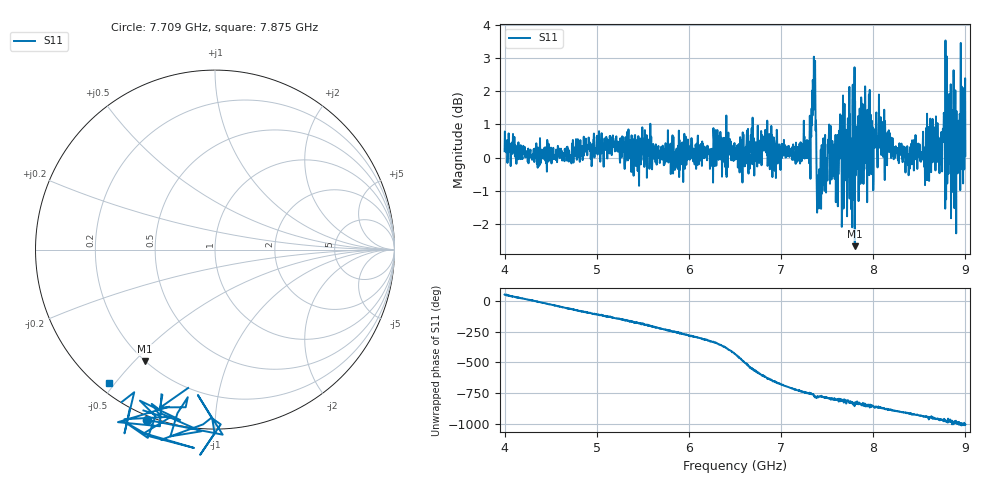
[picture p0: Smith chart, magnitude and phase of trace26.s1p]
! Created with skrf 1.8.0 (http://scikit-rf.org).
# Hz S RI R 50.0
!freq ReS11 ImS11
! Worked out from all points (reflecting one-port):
!   1601 points, 4 GHz to 9 GHz, reference 50 ohm
!   lowest |S11| = -2.7 dB at 7.8 GHz (marker M1), VSWR 6.56, Z = 9.87 - j26.8 ohm
!   phase of S11 starts at 50 deg and turns -1054 deg over the sweep
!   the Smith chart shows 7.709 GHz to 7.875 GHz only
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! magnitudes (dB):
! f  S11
! 4 GHz  0.2
! 4.625 GHz  -0.1
! 5.25 GHz  -0.1
! 5.875 GHz  0.0
! 6.238 GHz  0.3
! 6.291 GHz  0.8
! 6.5 GHz  0.1
! 6.678 GHz  0.6
! 6.734 GHz  0.0
! 6.806 GHz  0.5
! 7.125 GHz  0.2
! 7.294 GHz  0.1
! 7.356 GHz  3.0
! 7.409 GHz  -1.5
! 7.531 GHz  -0.8
! 7.6 GHz  -0.6
! 7.631 GHz  0.7
! 7.75 GHz  -0.3
! 7.788 GHz  -0.6
! 7.8 GHz  -2.7
! 8.056 GHz  0.3
! 8.375 GHz  -0.2
! 8.725 GHz  0.2
! 8.816 GHz  -0.5
! 8.856 GHz  -0.5
! 8.919 GHz  -0.3
! 8.972 GHz  0.4
! 9 GHz  0.1
